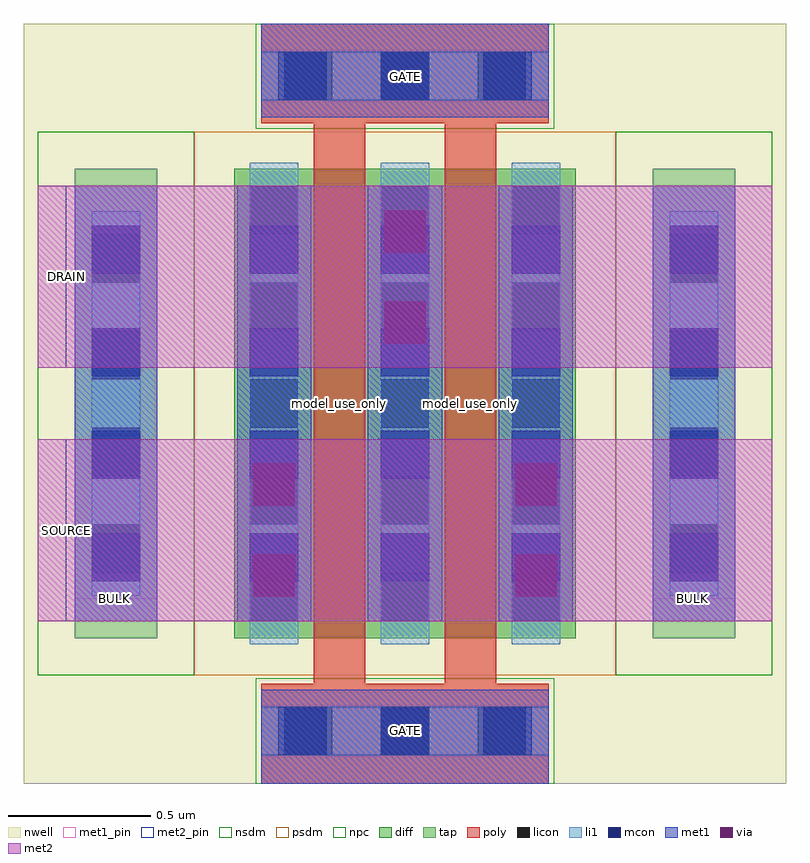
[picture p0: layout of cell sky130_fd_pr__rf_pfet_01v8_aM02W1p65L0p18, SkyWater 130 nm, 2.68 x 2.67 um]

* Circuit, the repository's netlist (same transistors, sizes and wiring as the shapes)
* Copyright 2020 The SkyWater PDK Authors
*
* Licensed under the Apache License, Version 2.0 (the "License");
* you may not use this file except in compliance with the License.
* You may obtain a copy of the License at
*
*     https://www.apache.org/licenses/LICENSE-2.0
*
* Unless required by applicable law or agreed to in writing, software
* distributed under the License is distributed on an "AS IS" BASIS,
* WITHOUT WARRANTIES OR CONDITIONS OF ANY KIND, either express or implied.
* See the License for the specific language governing permissions and
* limitations under the License.
*
* SPDX-License-Identifier: Apache-2.0


.subckt sky130_fd_pr__rf_pfet_01v8_aM02W1p65L0p18 BULK DRAIN GATE SOURCE
X0 SOURCE GATE DRAIN BULK sky130_fd_pr__pfet_01v8 w=1.65e+06u l=180000u
X1 DRAIN GATE SOURCE BULK sky130_fd_pr__pfet_01v8 w=1.65e+06u l=180000u
.ends

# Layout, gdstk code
import gdstk
lib = gdstk.Library(unit=1e-6, precision=1e-09)
def R(c, l, rs):  # rectangles x0, y0, x1, y1
    for r in rs: c.add(gdstk.rectangle(r[:2], r[2:], *l))
def A(c, l, x, y, w, h, nx, ny, dx, dy):  # array of equal rectangles
    R(c, l, [(x+i*dx, y+j*dy, x+i*dx+w, y+j*dy+h) for i in range(nx) for j in range(ny)])
nwell = (64, 20)
diff = (65, 20)
tap = (65, 44)
poly = (66, 20)
licon = (66, 44)
li1 = (67, 20)
mcon = (67, 44)
met1_pin = (68, 16)
met1 = (68, 20)
via = (68, 44)
met2_pin = (69, 16)
met2 = (69, 20)
nsdm = (93, 44)
psdm = (94, 20)
npc = (95, 20)

sky130_fd_pr__rf_pfet_01 = lib.new_cell('sky130_fd_pr__rf_pfet_01v8_aM02W1p65L0p18')
R(sky130_fd_pr__rf_pfet_01, nwell, [(0,0,2.68,2.67)])
R(sky130_fd_pr__rf_pfet_01, diff, [(0.74,0.51,1.94,2.16)])
R(sky130_fd_pr__rf_pfet_01, tap, [(0.18,0.51,0.47,2.16), (2.21,0.51,2.5,2.16)])
R(sky130_fd_pr__rf_pfet_01, poly, [(0.835,0,1.845,0.35), (1.02,0.35,1.2,2.32), (1.48,0.35,1.66,2.32), (0.835,2.32,1.845,2.67)])
A(sky130_fd_pr__rf_pfet_01, licon, 0.915, 0.1, 0.17, 0.17, 3, 2, 0.34, 2.3)
A(sky130_fd_pr__rf_pfet_01, licon, 0.795, 0.57, 0.17, 0.17, 3, 5, 0.46, 0.34)
A(sky130_fd_pr__rf_pfet_01, licon, 0.24, 0.74, 0.17, 0.17, 1, 4, 0, 0.34)
A(sky130_fd_pr__rf_pfet_01, licon, 2.27, 0.74, 0.17, 0.17, 1, 4, 0, 0.34)
A(sky130_fd_pr__rf_pfet_01, li1, 0.795, 0.49, 0.17, 1.69, 3, 1, 0.46, 0)
R(sky130_fd_pr__rf_pfet_01, li1, [(0.835,0.1,1.845,0.27), (0.895,0.1,1.785,0.27), (0.24,0.66,0.41,2.01), (2.27,0.66,2.44,2.01), (0.835,2.4,1.845,2.57), (0.895,2.4,1.785,2.57)])
A(sky130_fd_pr__rf_pfet_01, mcon, 0.895, 0.1, 0.17, 0.17, 3, 2, 0.36, 2.3)
A(sky130_fd_pr__rf_pfet_01, mcon, 0.24, 0.71, 0.17, 0.17, 1, 4, 0, 0.36)
A(sky130_fd_pr__rf_pfet_01, mcon, 0.795, 0.71, 0.17, 0.17, 3, 4, 0.46, 0.36)
A(sky130_fd_pr__rf_pfet_01, mcon, 2.27, 0.71, 0.17, 0.17, 1, 4, 0, 0.36)
R(sky130_fd_pr__rf_pfet_01, met1_pin, [(0.835,0,1.845,0.33), (0.18,0.57,0.47,0.65), (2.21,0.57,2.5,0.65), (0.835,2.34,1.845,2.67)])
A(sky130_fd_pr__rf_pfet_01, met1, 0.75, 0.57, 0.26, 1.53, 3, 1, 0.46, 0)
R(sky130_fd_pr__rf_pfet_01, met1, [(0.835,0,1.845,0.33), (0.18,0.57,0.47,2.1), (2.21,0.57,2.5,2.1), (0.835,2.34,1.845,2.67)])
R(sky130_fd_pr__rf_pfet_01, via, [(0.805,0.655,0.955,0.805), (1.725,0.655,1.875,0.805), (0.805,0.975,0.955,1.125), (1.725,0.975,1.875,1.125), (1.265,1.545,1.415,1.695), (1.265,1.865,1.415,2.015)])
R(sky130_fd_pr__rf_pfet_01, met2_pin, [(0.05,0.57,0.15,1.21), (0.05,1.46,0.15,2.1)])
R(sky130_fd_pr__rf_pfet_01, met2, [(0.05,0.57,2.63,1.21), (0.05,1.46,2.63,2.1)])
R(sky130_fd_pr__rf_pfet_01, nsdm, [(0.05,0.38,0.6,2.29), (2.08,0.38,2.63,2.29)])
R(sky130_fd_pr__rf_pfet_01, psdm, [(0.6,0.38,2.08,2.29)])
R(sky130_fd_pr__rf_pfet_01, npc, [(0.815,0,1.865,0.37), (0.815,2.3,1.865,2.67)])
sky130_fd_pr__rf_pfet_01.add(gdstk.Label('model_use_only', (1.57,1.335), layer=66, texttype=83))
sky130_fd_pr__rf_pfet_01.add(gdstk.Label('model_use_only', (1.11,1.335), layer=66, texttype=83))
sky130_fd_pr__rf_pfet_01.add(gdstk.Label('DRAIN', (0.15,1.78), layer=69, texttype=5))
sky130_fd_pr__rf_pfet_01.add(gdstk.Label('SOURCE', (0.15,0.89), layer=69, texttype=5))
sky130_fd_pr__rf_pfet_01.add(gdstk.Label('BULK', (2.35,0.65), layer=68, texttype=5))
sky130_fd_pr__rf_pfet_01.add(gdstk.Label('GATE', (1.34,0.185), layer=68, texttype=5))
sky130_fd_pr__rf_pfet_01.add(gdstk.Label('GATE', (1.34,2.485), layer=68, texttype=5))
sky130_fd_pr__rf_pfet_01.add(gdstk.Label('BULK', (0.32,0.65), layer=68, texttype=5))

lib.write_gds('sky130_fd_pr__rf_pfet_01v8_aM02W1p65L0p18.gds')
